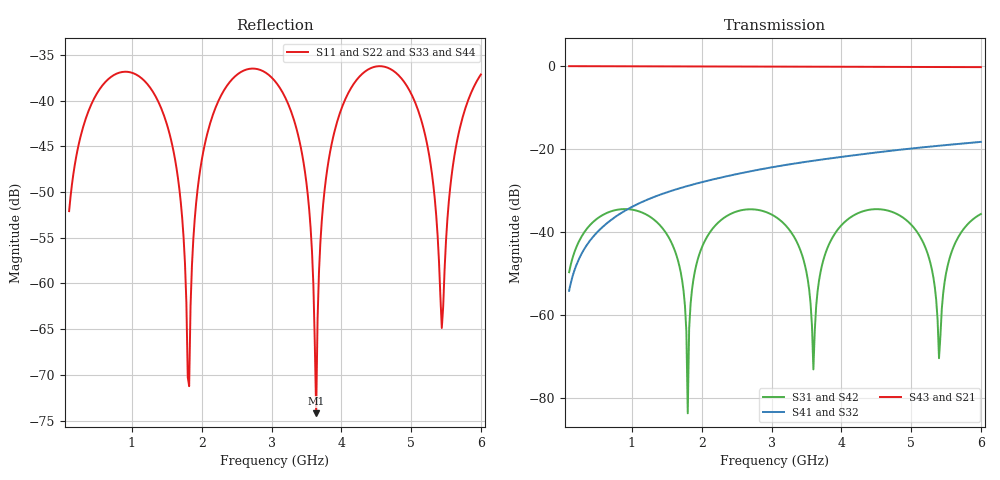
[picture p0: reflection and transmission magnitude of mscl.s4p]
! Sonnet Data File
! From: sonnet Version : 18.53-Lite
! From Emgraph Data:
! Data File Written: 09/16/2023 12:18:17
!< HDATE 09/16/2023 12:15:31
!< MDATE 09/16/2023 12:15:31
# GHZ S MA R 50.00000
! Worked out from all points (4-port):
!   296 points, 100 MHz to 6 GHz, reference 50 ohm
!   strongest paths, dB at 100 MHz, 1.58 GHz, 3.06 GHz, 4.54 GHz, 6 GHz:
!     S43: 0.0, 0.0, -0.1, -0.2, -0.2
!     S21: 0.0, 0.0, -0.1, -0.2, -0.2
!     S41: -54.1, -30.0, -24.2, -20.7, -18.2
!     S32: -54.1, -30.0, -24.2, -20.7, -18.2
!     S31: -49.6, -43.0, -36.3, -34.5, -35.6
!     S42: -49.6, -43.0, -36.3, -34.5, -35.7
!   lowest |S11| = -74.2 dB at 3.64 GHz (marker M1), VSWR 1.00, Z = 50 - j0.00604 ohm
!   |S11| at or under -10 dB: start of sweep to end of sweep
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0.1  0.002487 -107.2  0.9997 -10.1  0.003296 80.0  0.001968 -99.9
     0.9997 -10.1  0.002487 -107.2  0.001968 -99.9  0.003296 80.0
     0.003296 80.0  0.001968 -99.9  0.002487 -107.2  0.9997 -10.1
     0.001968 -99.9  0.003296 80.0  0.9997 -10.1  0.002487 -107.2
1.78  0.0007896 96.8  0.9935 -179.7  0.0006363 -83.1  0.03569 89.7
      0.9935 -179.7  0.000789 96.5  0.03569 89.7  0.0006364 -83.1
      0.0006363 -83.1  0.03569 89.7  0.0007896 96.8  0.9935 -179.7
      0.03569 89.7  0.0006364 -83.1  0.9935 -179.7  0.000789 96.5
2.98  0.01364 147.9  0.9883 59.3  0.01666 -28.2  0.05998 -31.1
      0.9883 59.3  0.01363 148.1  0.05998 -31.1  0.01665 -28.2
      0.01666 -28.2  0.05998 -31.1  0.01364 147.9  0.9883 59.3
      0.05998 -31.1  0.01665 -28.2  0.9883 59.3  0.01363 148.1
3.64  0.0001948 -161.9  0.9856 -7.3  0.001287 75.7  0.07337 -97.8
      0.9856 -7.3  0.0002683 -169.4  0.07337 -97.8  0.001293 75.9
      0.001287 75.7  0.07337 -97.8  0.0001948 -161.9  0.9856 -7.3
      0.07337 -97.8  0.001293 75.9  0.9856 -7.3  0.0002683 -169.4
4.22  0.013 -155.8  0.9826 -65.8  0.01665 27.2  0.08526 -156.1
      0.9826 -65.8  0.013 -156.4  0.08526 -156.1  0.01667 27.3
      0.01665 27.2  0.08526 -156.1  0.013 -155.8  0.9826 -65.8
      0.08526 -156.1  0.01667 27.3  0.9826 -65.8  0.013 -156.4
5.4  0.001314 112.1  0.9768 175.2  0.0003029 -33.4  0.11 84.9
     0.9768 175.2  0.00119 96.3  0.11 84.9  0.0003359 -38.4
     0.0003029 -33.4  0.11 84.9  0.001314 112.1  0.9768 175.2
     0.11 84.9  0.0003359 -38.4  0.9768 175.2  0.00119 96.3
6  0.01391 -154.7  0.9732 114.8  0.01656 30.3  0.1224 24.6
   0.9732 114.8  0.01393 -152.5  0.1224 24.6  0.01649 30.2
   0.01656 30.3  0.1224 24.6  0.01391 -154.7  0.9732 114.8
   0.1224 24.6  0.01649 30.2  0.9732 114.8  0.01393 -152.5
